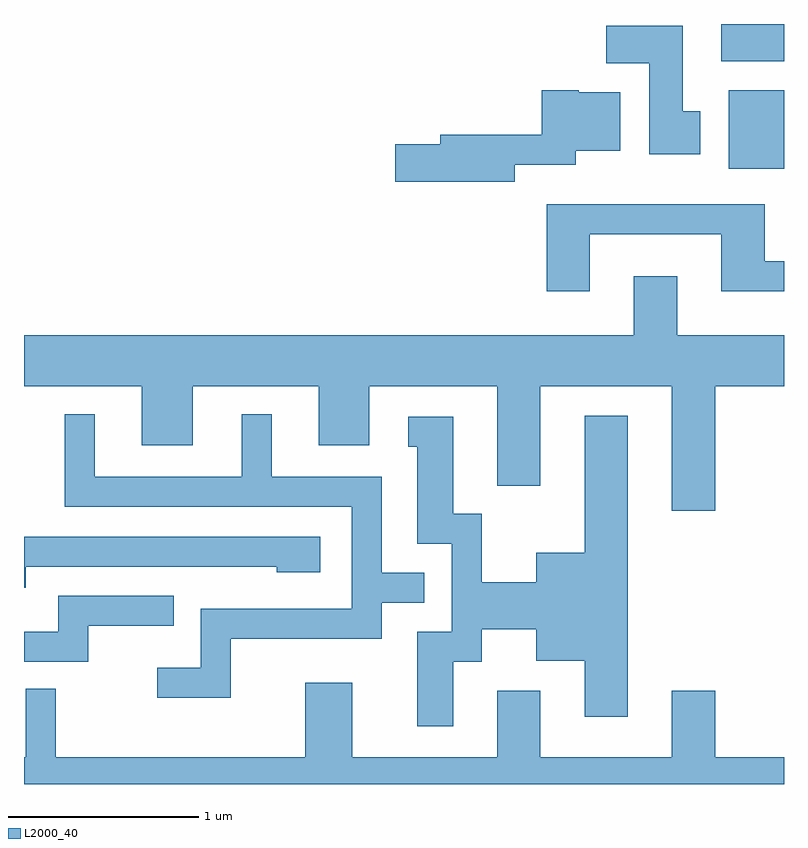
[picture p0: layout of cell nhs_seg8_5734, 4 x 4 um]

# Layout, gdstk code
import gdstk
lib = gdstk.Library(unit=1e-6, precision=1e-09)
def R(c, l, rs):  # rectangles x0, y0, x1, y1
    for r in rs: c.add(gdstk.rectangle(r[:2], r[2:], *l))
def P(c, l, *ps):  # polygons
    for p in ps: c.add(gdstk.Polygon(p, *l))
L2000_40 = (2000, 40)

nhs_seg8_5734 = lib.new_cell('nhs_seg8_5734')
R(nhs_seg8_5734, L2000_40, [(361.321,1817.581,361.611,1817.994), (361.281,1818.146,361.611,1818.342)])
P(nhs_seg8_5734, L2000_40, [(361.169,1817.884),(361.079,1817.884),(361.079,1818.334),(360.676,1818.334),(360.676,1818.136),(360.901,1818.136),(360.901,1817.656),(361.169,1817.656)],
  [(360.194,1817.601),(360.514,1817.601),(360.514,1817.676),(360.749,1817.676),(360.749,1817.984),(360.53,1817.984),(360.53,1817.994),(360.336,1817.994),(360.336,1817.759),(359.801,1817.759),(359.801,1817.709),(359.566,1817.709),(359.566,1817.511),(360.194,1817.511)],
  [(360.589,1817.236),(361.281,1817.236),(361.281,1816.936),(361.611,1816.936),(361.611,1817.094),(361.509,1817.094),(361.509,1817.394),(360.361,1817.394),(360.361,1816.936),(360.589,1816.936)],
  [(361.249,1816.436),(361.611,1816.436),(361.611,1816.704),(361.049,1816.704),(361.049,1817.014),(360.821,1817.014),(360.821,1816.704),(357.611,1816.704),(357.611,1816.436),(358.231,1816.436),(358.231,1816.126),(358.499,1816.126),(358.499,1816.436),(359.161,1816.436),(359.161,1816.126),(359.429,1816.126),(359.429,1816.436),(360.101,1816.436),(360.101,1815.911),(360.329,1815.911),(360.329,1816.436),(361.021,1816.436),(361.021,1815.781),(361.249,1815.781)],
  [(358.699,1815.106),(359.494,1815.106),(359.494,1815.296),(359.718,1815.296),(359.718,1815.454),(359.494,1815.454),(359.494,1815.959),(358.914,1815.959),(358.914,1816.288),(358.756,1816.288),(358.756,1815.959),(357.984,1815.959),(357.984,1816.288),(357.826,1816.288),(357.826,1815.801),(359.336,1815.801),(359.336,1815.264),(358.541,1815.264),(358.541,1814.954),(358.313,1814.954),(358.313,1814.796),(358.699,1814.796)],
  [(359.869,1814.986),(360.019,1814.986),(360.019,1815.156),(360.306,1815.156),(360.306,1814.991),(360.561,1814.991),(360.561,1814.696),(360.789,1814.696),(360.789,1816.279),(360.561,1816.279),(360.561,1815.559),(360.306,1815.559),(360.306,1815.404),(360.019,1815.404),(360.019,1815.764),(359.869,1815.764),(359.869,1816.274),(359.633,1816.274),(359.633,1816.116),(359.681,1816.116),(359.681,1815.606),(359.861,1815.606),(359.861,1815.144),(359.681,1815.144),(359.681,1814.646),(359.869,1814.646)],
  [(357.619,1815.486),(358.941,1815.486),(358.941,1815.456),(359.169,1815.456),(359.169,1815.644),(357.611,1815.644),(357.611,1815.376),(357.619,1815.376)],
  [(357.949,1815.176),(358.398,1815.176),(358.398,1815.334),(357.791,1815.334),(357.791,1815.144),(357.611,1815.144),(357.611,1814.986),(357.949,1814.986)],
  [(361.611,1814.484),(361.249,1814.484),(361.249,1814.834),(361.021,1814.834),(361.021,1814.484),(360.329,1814.484),(360.329,1814.834),(360.101,1814.834),(360.101,1814.484),(359.339,1814.484),(359.339,1814.874),(359.091,1814.874),(359.091,1814.484),(357.779,1814.484),(357.779,1814.843),(357.621,1814.843),(357.621,1814.484),(357.611,1814.484),(357.611,1814.342),(361.611,1814.342)])

lib.write_gds('nhs_seg8_5734.gds')
